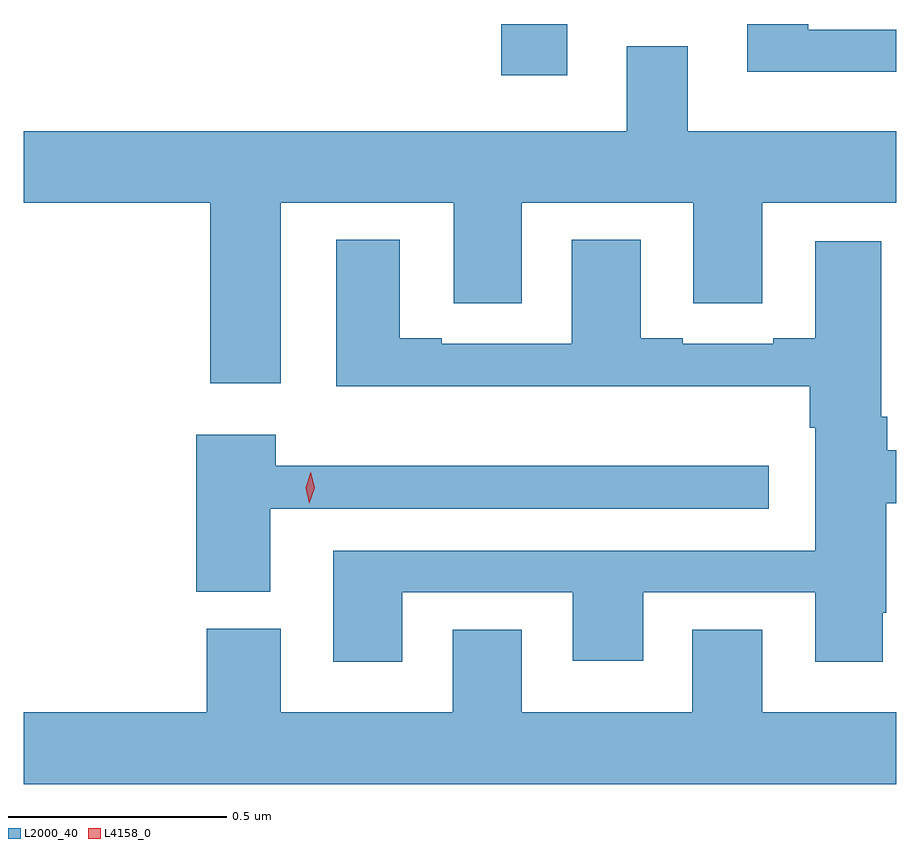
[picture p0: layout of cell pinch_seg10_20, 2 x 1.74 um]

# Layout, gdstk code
import gdstk
lib = gdstk.Library(unit=1e-6, precision=1e-09)
def R(c, l, rs):  # rectangles x0, y0, x1, y1
    for r in rs: c.add(gdstk.rectangle(r[:2], r[2:], *l))
def P(c, l, *ps):  # polygons
    for p in ps: c.add(gdstk.Polygon(p, *l))
L2000_40 = (2000, 40)
L4158_0 = (4158, 0)

pinch_seg10_20 = lib.new_cell('pinch_seg10_20')
R(pinch_seg10_20, L2000_40, [(954.131,1273.968,954.283,1274.086)])
P(pinch_seg10_20, L2000_40, [(955.037,1274.073),(954.835,1274.073),(954.835,1274.086),(954.695,1274.086),(954.695,1273.976),(955.037,1273.976)],
  [(953.626,1273.676),(954.023,1273.676),(954.023,1273.446),(954.178,1273.446),(954.178,1273.676),(954.572,1273.676),(954.572,1273.446),(954.73,1273.446),(954.73,1273.676),(955.037,1273.676),(955.037,1273.84),(954.559,1273.84),(954.559,1274.035),(954.419,1274.035),(954.419,1273.84),(953.037,1273.84),(953.037,1273.676),(953.465,1273.676),(953.465,1273.263),(953.626,1273.263)],
  [(953.905,1272.783),(954.296,1272.783),(954.296,1272.627),(954.457,1272.627),(954.457,1272.783),(954.851,1272.783),(954.851,1272.624),(955.006,1272.624),(955.006,1272.736),(955.014,1272.736),(955.014,1272.988),(955.037,1272.988),(955.037,1273.109),(955.016,1273.109),(955.016,1273.186),(955.003,1273.186),(955.003,1273.588),(954.851,1273.588),(954.851,1273.366),(954.755,1273.366),(954.755,1273.353),(954.547,1273.353),(954.547,1273.366),(954.451,1273.366),(954.451,1273.591),(954.293,1273.591),(954.293,1273.353),(953.995,1273.353),(953.995,1273.366),(953.899,1273.366),(953.899,1273.591),(953.753,1273.591),(953.753,1273.256),(954.839,1273.256),(954.839,1273.16),(954.851,1273.16),(954.851,1272.879),(953.747,1272.879),(953.747,1272.624),(953.905,1272.624)],
  [(953.602,1272.975),(954.745,1272.975),(954.745,1273.073),(953.615,1273.073),(953.615,1273.144),(953.432,1273.144),(953.432,1272.785),(953.602,1272.785)],
  [(955.037,1272.508),(954.73,1272.508),(954.73,1272.698),(954.569,1272.698),(954.569,1272.508),(954.178,1272.508),(954.178,1272.698),(954.02,1272.698),(954.02,1272.508),(953.626,1272.508),(953.626,1272.7),(953.456,1272.7),(953.456,1272.508),(953.037,1272.508),(953.037,1272.344),(955.037,1272.344)])
P(pinch_seg10_20, L4158_0, [(953.692,1272.987),(953.692,1272.987),(953.684,1273.023),(953.695,1273.059),(953.695,1273.059),(953.695,1273.059),(953.704,1273.023),(953.692,1272.987)])

lib.write_gds('pinch_seg10_20.gds')
